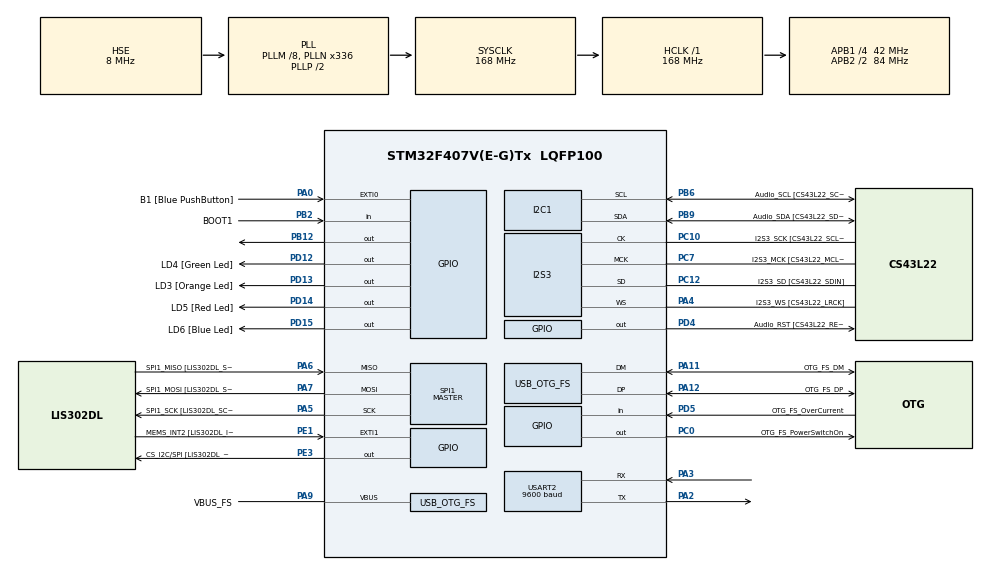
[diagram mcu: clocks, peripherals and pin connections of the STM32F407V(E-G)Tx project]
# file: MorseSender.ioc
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I2S3.AudioFreq-Half_Duplex_Master=I2S_AUDIOFREQ_96K
I2S3.ErrorAudioFreq=-2.34 %
I2S3.ErrorAudioFreq-Half_Duplex_Master=0.8 %
I2S3.FullDuplexMode=I2S_FULLDUPLEXMODE_DISABLE
I2S3.Instance=SPI$Index
I2S3.RealAudioFreq=93.75 KHz
I2S3.RealAudioFreq-Half_Duplex_Master=96.774 KHz
I2S3.VirtualMode=I2S_MODE_MASTER
Mcu.Family=STM32F4
Mcu.Name=STM32F407V(E-G)Tx
Mcu.Package=LQFP100
NVIC.OTG_FS_IRQn=true\:0\:0\:false\:false\:true\:true\:true\:true
NVIC.PriorityGroup=NVIC_PRIORITYGROUP_0
NVIC.USART2_IRQn=true\:0\:0\:false\:false\:true\:true\:true\:true
PA0-WKUP.GPIO_Label=B1 [Blue PushButton]
PA0-WKUP.GPIO_ModeDefaultEXTI=GPIO_MODE_EVT_RISING
PA0-WKUP.GPIO_PuPd=GPIO_NOPULL
PA0-WKUP.Signal=GPXTI0
PA10.GPIO_Label=OTG_FS_ID
PA10.GPIO_Mode=GPIO_MODE_AF_PP
PA10.GPIO_PuPd=GPIO_NOPULL
PA10.GPIO_Speed=GPIO_SPEED_FREQ_LOW
PA10.Signal=USB_OTG_FS_ID
PA11.GPIO_Label=OTG_FS_DM
PA11.GPIO_Mode=GPIO_MODE_AF_PP
PA11.GPIO_PuPd=GPIO_NOPULL
PA11.GPIO_Speed=GPIO_SPEED_FREQ_LOW
PA11.Mode=Host_Only
PA11.Signal=USB_OTG_FS_DM
PA12.GPIO_Label=OTG_FS_DP
PA12.GPIO_Mode=GPIO_MODE_AF_PP
PA12.GPIO_PuPd=GPIO_NOPULL
PA12.GPIO_Speed=GPIO_SPEED_FREQ_LOW
PA12.Mode=Host_Only
PA12.Signal=USB_OTG_FS_DP
PA13.GPIO_Label=SWDIO
PA13.Mode=Serial_Wire
PA13.Signal=SYS_JTMS-SWDIO
PA14.GPIO_Label=SWCLK
PA14.Mode=Serial_Wire
PA14.Signal=SYS_JTCK-SWCLK
PA2.Mode=Asynchronous
PA2.Signal=USART2_TX
PA3.Mode=Asynchronous
PA3.Signal=USART2_RX
PA4.GPIO_Label=I2S3_WS [CS43L22_LRCK]
PA4.GPIO_Mode=GPIO_MODE_AF_PP
PA4.GPIO_PuPd=GPIO_NOPULL
PA4.GPIO_Speed=GPIO_SPEED_FREQ_LOW
PA4.Mode=Half_Duplex_Master
PA4.Signal=I2S3_WS
PA5.GPIO_Label=SPI1_SCK [LIS302DL_SCL/SPC]
PA5.GPIO_Mode=GPIO_MODE_AF_PP
PA5.GPIO_PuPd=GPIO_NOPULL
PA5.GPIO_Speed=GPIO_SPEED_FREQ_LOW
PA5.Mode=Full_Duplex_Master
PA5.Signal=SPI1_SCK
PA6.GPIO_Label=SPI1_MISO [LIS302DL_SDO]
PA6.GPIO_Mode=GPIO_MODE_AF_PP
PA6.GPIO_PuPd=GPIO_NOPULL
PA6.GPIO_Speed=GPIO_SPEED_FREQ_LOW
PA6.Mode=Full_Duplex_Master
PA6.Signal=SPI1_MISO
PA7.GPIO_Label=SPI1_MOSI [LIS302DL_SDA/SDI/SDO]
PA7.GPIO_Mode=GPIO_MODE_AF_PP
PA7.GPIO_PuPd=GPIO_NOPULL
PA7.GPIO_Speed=GPIO_SPEED_FREQ_LOW
PA7.Mode=Full_Duplex_Master
PA7.Signal=SPI1_MOSI
PA9.GPIO_Label=VBUS_FS
PA9.GPIO_Mode=GPIO_MODE_INPUT
PA9.GPIO_PuPd=GPIO_NOPULL
PA9.Mode=Activate_VBUS
PA9.Signal=USB_OTG_FS_VBUS
PB10.GPIO_Label=CLK_IN [MP45DT02_CLK]
PB10.GPIO_Mode=GPIO_MODE_AF_PP
PB10.GPIO_PuPd=GPIO_NOPULL
PB10.GPIO_Speed=GPIO_SPEED_FREQ_LOW
PB10.Signal=I2S2_CK
PB12.Signal=GPIO_Output
PB2.GPIO_Label=BOOT1
PB2.GPIO_Mode=GPIO_MODE_INPUT
PB2.GPIO_PuPd=GPIO_NOPULL
PB2.Signal=GPIO_Input
PB3.GPIO_Label=SWO
PB3.Signal=SYS_JTDO-SWO
PB6.GPIO_Label=Audio_SCL [CS43L22_SCL]
PB6.GPIO_Mode=GPIO_MODE_AF_OD
PB6.GPIO_Pu=GPIO_PULLUP
PB6.GPIO_PuPd=GPIO_NOPULL
PB6.GPIO_Speed=GPIO_SPEED_FREQ_LOW
PB6.Mode=I2C
PB6.Signal=I2C1_SCL
PB9.GPIO_Label=Audio_SDA [CS43L22_SDA]
PB9.GPIO_Mode=GPIO_MODE_AF_OD
PB9.GPIO_Pu=GPIO_PULLUP
PB9.GPIO_PuPd=GPIO_NOPULL
PB9.GPIO_Speed=GPIO_SPEED_FREQ_LOW
PB9.Mode=I2C
PB9.Signal=I2C1_SDA
PC0.GPIO_Label=OTG_FS_PowerSwitchOn
PC0.GPIO_PuPd=GPIO_NOPULL
PC0.GPIO_Speed=GPIO_SPEED_FREQ_LOW
PC0.PinState=GPIO_PIN_SET
PC0.Signal=GPIO_Output
PC10.GPIO_Label=I2S3_SCK [CS43L22_SCLK]
PC10.GPIO_Mode=GPIO_MODE_AF_PP
PC10.GPIO_PuPd=GPIO_NOPULL
PC10.GPIO_Speed=GPIO_SPEED_FREQ_LOW
PC10.Mode=Half_Duplex_Master
PC10.Signal=I2S3_CK
PC12.GPIO_Label=I2S3_SD [CS43L22_SDIN]
PC12.GPIO_Mode=GPIO_MODE_AF_PP
PC12.GPIO_PuPd=GPIO_NOPULL
PC12.GPIO_Speed=GPIO_SPEED_FREQ_LOW
PC12.Mode=Half_Duplex_Master
PC12.Signal=I2S3_SD
PC14-OSC32_IN.GPIO_Label=PC14-OSC32_IN
PC14-OSC32_IN.Mode=LSE-External-Oscillator
PC14-OSC32_IN.Signal=RCC_OSC32_IN
PC15-OSC32_OUT.GPIO_Label=PC15-OSC32_OUT
PC15-OSC32_OUT.Mode=LSE-External-Oscillator
PC15-OSC32_OUT.Signal=RCC_OSC32_OUT
PC3.GPIO_Label=PDM_OUT [MP45DT02_DOUT]
PC3.GPIO_Mode=GPIO_MODE_AF_PP
PC3.GPIO_PuPd=GPIO_NOPULL
PC3.GPIO_Speed=GPIO_SPEED_FREQ_LOW
PC3.Signal=I2S2_SD
PC7.GPIO_Label=I2S3_MCK [CS43L22_MCLK]
PC7.GPIO_Mode=GPIO_MODE_AF_PP
PC7.GPIO_PuPd=GPIO_NOPULL
PC7.GPIO_Speed=GPIO_SPEED_FREQ_LOW
PC7.Mode=Master_Clock_Activated
PC7.Signal=I2S3_MCK
PD12.GPIO_Label=LD4 [Green Led]
PD12.GPIO_PuPd=GPIO_NOPULL
PD12.GPIO_Speed=GPIO_SPEED_FREQ_LOW
PD12.Signal=GPIO_Output
PD13.GPIO_Label=LD3 [Orange Led]
PD13.GPIO_PuPd=GPIO_NOPULL
PD13.GPIO_Speed=GPIO_SPEED_FREQ_LOW
PD13.Signal=GPIO_Output
PD14.GPIO_Label=LD5 [Red Led]
PD14.GPIO_PuPd=GPIO_NOPULL
PD14.GPIO_Speed=GPIO_SPEED_FREQ_LOW
PD14.Signal=GPIO_Output
PD15.GPIO_Label=LD6 [Blue Led]
PD15.GPIO_PuPd=GPIO_NOPULL
PD15.GPIO_Speed=GPIO_SPEED_FREQ_LOW
PD15.Signal=GPIO_Output
PD4.GPIO_Label=Audio_RST [CS43L22_RESET]
PD4.GPIO_PuPd=GPIO_NOPULL
PD4.GPIO_Speed=GPIO_SPEED_FREQ_LOW
PD4.Signal=GPIO_Output
PD5.GPIO_Label=OTG_FS_OverCurrent
PD5.GPIO_Mode=GPIO_MODE_INPUT
PD5.GPIO_PuPd=GPIO_NOPULL
PD5.Signal=GPIO_Input
PE1.GPIO_Label=MEMS_INT2 [LIS302DL_INT2]
PE1.GPIO_ModeDefaultEXTI=GPIO_MODE_EVT_RISING
PE1.GPIO_PuPd=GPIO_NOPULL
PE1.Signal=GPXTI1
PE3.GPIO_Label=CS_I2C/SPI [LIS302DL_CS_I2C/SPI]
PE3.GPIO_PuPd=GPIO_NOPULL
PE3.GPIO_Speed=GPIO_SPEED_FREQ_LOW
PE3.Signal=GPIO_Output
PH0-OSC_IN.GPIO_Label=PH0-OSC_IN
PH0-OSC_IN.Mode=HSE-External-Oscillator
PH0-OSC_IN.Signal=RCC_OSC_IN
PH1-OSC_OUT.GPIO_Label=PH1-OSC_OUT
PH1-OSC_OUT.Mode=HSE-External-Oscillator
PH1-OSC_OUT.Signal=RCC_OSC_OUT
ProjectManager.HeapSize=0x200
ProjectManager.StackSize=0x400
ProjectManager.TargetToolchain=CMake
RCC.48MHZClocksFreq_Value=48000000
RCC.AHBFreq_Value=168000000
RCC.APB1CLKDivider=RCC_HCLK_DIV4
RCC.APB1Freq_Value=42000000
RCC.APB1TimFreq_Value=84000000
RCC.APB2CLKDivider=RCC_HCLK_DIV2
RCC.APB2Freq_Value=84000000
RCC.APB2TimFreq_Value=168000000
RCC.CortexFreq_Value=168000000
RCC.HCLKFreq_Value=168000000
RCC.HSE_VALUE=8000000
RCC.HSI_VALUE=16000000
RCC.PLLM=8
RCC.PLLN=336
RCC.PLLQ=7
RCC.SYSCLKFreq_VALUE=168000000
RCC.SYSCLKSource=RCC_SYSCLKSOURCE_PLLCLK
RCC.VCOOutputFreq_Value=336000000
SPI1.BaudRatePrescaler-Full_Duplex_Master=SPI_BAUDRATEPRESCALER_2
SPI1.CalculateBaudRate-Full_Duplex_Master=42.0 MBits/s
SPI1.Direction=SPI_DIRECTION_2LINES
SPI1.Mode=SPI_MODE_MASTER
SPI1.Mode-Full_Duplex_Master=SPI_MODE_MASTER
SPI1.VirtualType=VM_MASTER
USART2.BaudRate=9600
USART2.VirtualMode=VM_ASYNC
USB_HOST.BSP.number=1
USB_HOST.USBH_HandleTypeDef-CDC_FS=hUsbHostFS
USB_HOST.VirtualModeFS=Cdc
USB_HOST0.BSP.STBoard=false
USB_HOST0.BSP.api=Unknown
USB_HOST0.BSP.instance=PC0
USB_HOST0.BSP.ip=GPIO
USB_HOST0.BSP.mode=Output
USB_HOST0.BSP.name=Drive_VBUS_FS
USB_HOST0.BSP.solution=PC0
USB_OTG_FS.VirtualMode=Host_Only
USB_OTG_FS.phy_itface=HCD_PHY_EMBEDDED
VP_USB_HOST_VS_USB_HOST_CDC_FS.Mode=CDC_FS
board=STM32F407G-DISC1

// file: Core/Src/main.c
/* USER CODE BEGIN Header */
/**
  ******************************************************************************
  * @file           : main.c
  * @brief          : Main program body
  ******************************************************************************
  * @attention
  *
  * Copyright (c) 2025 STMicroelectronics.
  * All rights reserved.
  *
  * This software is licensed under terms that can be found in the LICENSE file
  * in the root directory of this software component.
  * If no LICENSE file comes with this software, it is provided AS-IS.
  *
  ******************************************************************************
  */
/* USER CODE END Header */
#include "main.h"
#include "i2c.h"
#include "i2s.h"
#include "spi.h"
#include "usart.h"
#include "usb_host.h"
#include "gpio.h"

/* USER CODE BEGIN Includes */
#include <string.h>
#include <stdlib.h>
/* USER CODE END Includes */

/* USER CODE BEGIN PD */
#define MAX_MESSAGE_LENGTH 100
/* USER CODE END PD */

/* USER CODE BEGIN PV */
volatile char received_message[MAX_MESSAGE_LENGTH];
volatile uint16_t message_index = 0;
volatile uint8_t message_received = 0;

const char* morse_codes[36] = {
    "-----", ".----", "..---", "...--", "....-", ".....", "-....", "--...", "---..", "----.", // 0-9
    ".-", "-...", "-.-.", "-..", ".", "..-.", "--.", "....", "..", ".---", // A-J
    "-.-", ".-..", "--", "-.", "---", ".--.", "--.-", ".-.", "...", "-", // K-T
    "..-", "...-", ".--", "-..-", "-.--", "--.."// U-Z
};
/* USER CODE END PV */

void SystemClock_Config(void);
void MX_USB_HOST_Process(void);

/* USER CODE BEGIN PFP */
void send_morse_char(char c);
void send_morse_string(const char* str);
void morse_dot(void);
void morse_dash(void);
/* USER CODE END PFP */

int main(void)
{

  /* MCU Configuration--------------------------------------------------------*/

  /* Reset of all peripherals, Initializes the Flash interface and the Systick. */
  HAL_Init();

  /* Configure the system clock */
  SystemClock_Config();

  /* Initialize all configured peripherals */
  MX_GPIO_Init();
  MX_I2C1_Init();
  MX_I2S3_Init();
  MX_SPI1_Init();
  MX_USART2_UART_Init();
  MX_USB_HOST_Init();

  /* USER CODE BEGIN 2 */
  HAL_UART_Receive_IT(&huart2, (uint8_t*)&received_message[0], 1);
  /* USER CODE END 2 */

  /* Infinite loop */
  /* USER CODE BEGIN WHILE */
  while (1)
  {
    if (message_received) {
      __disable_irq();

      char local_message[MAX_MESSAGE_LENGTH];
      strcpy(local_message, (char*)received_message);

      message_index = 0;
      message_received = 0;

      __enable_irq();

      send_morse_string(local_message);
      morse_dot();
      HAL_Delay(100);
      morse_dash();
      HAL_Delay(100);
      morse_dot();
      HAL_Delay(100);
      morse_dash();
      HAL_Delay(100);
      morse_dot();
      HAL_Delay(100);
      morse_dash();
      HAL_Delay(100);

      HAL_UART_Receive_IT(&huart2, (uint8_t*)&received_message[0], 1);
    }

    /* USER CODE END WHILE */
    MX_USB_HOST_Process();
  }
}

void SystemClock_Config(void)
{
  RCC_OscInitTypeDef RCC_OscInitStruct = {0};
  RCC_ClkInitTypeDef RCC_ClkInitStruct = {0};

  /** Configure the main internal regulator output voltage
  */
  __HAL_RCC_PWR_CLK_ENABLE();
  __HAL_PWR_VOLTAGESCALING_CONFIG(PWR_REGULATOR_VOLTAGE_SCALE1);

  /** Initializes the RCC Oscillators according to the specified parameters
  * in the RCC_OscInitTypeDef structure.
  */
  RCC_OscInitStruct.OscillatorType = RCC_OSCILLATORTYPE_HSE;
  RCC_OscInitStruct.HSEState = RCC_HSE_ON;
  RCC_OscInitStruct.PLL.PLLState = RCC_PLL_ON;
  RCC_OscInitStruct.PLL.PLLSource = RCC_PLLSOURCE_HSE;
  RCC_OscInitStruct.PLL.PLLM = 8;
  RCC_OscInitStruct.PLL.PLLN = 336;
  RCC_OscInitStruct.PLL.PLLP = RCC_PLLP_DIV2;
  RCC_OscInitStruct.PLL.PLLQ = 7;
  if (HAL_RCC_OscConfig(&RCC_OscInitStruct) != HAL_OK)
  {
    Error_Handler();
  }

  /** Initializes the CPU, AHB and APB buses clocks
  */
  RCC_ClkInitStruct.ClockType = RCC_CLOCKTYPE_HCLK|RCC_CLOCKTYPE_SYSCLK
                              |RCC_CLOCKTYPE_PCLK1|RCC_CLOCKTYPE_PCLK2;
  RCC_ClkInitStruct.SYSCLKSource = RCC_SYSCLKSOURCE_PLLCLK;
  RCC_ClkInitStruct.AHBCLKDivider = RCC_SYSCLK_DIV1;
  RCC_ClkInitStruct.APB1CLKDivider = RCC_HCLK_DIV4;
  RCC_ClkInitStruct.APB2CLKDivider = RCC_HCLK_DIV2;

  if (HAL_RCC_ClockConfig(&RCC_ClkInitStruct, FLASH_LATENCY_5) != HAL_OK)
  {
    Error_Handler();
  }
}

/* USER CODE BEGIN 4 */
void HAL_UART_RxCpltCallback(UART_HandleTypeDef *huart) {
  if (huart->Instance == USART2) {
    if (received_message[message_index] == '.') {
      received_message[message_index] = '\0';
      message_received = 1;
      return;
    }

    char c = received_message[message_index];
    if ((c >= '0' && c <= '9') || (c >= 'A' && c <= 'Z')) {
      message_index++;

      if (message_index >= MAX_MESSAGE_LENGTH - 1) {
        received_message[MAX_MESSAGE_LENGTH - 1] = '\0';
        message_index = 0;
        message_received = 1;
        return;
      }
    }

    HAL_UART_Receive_IT(&huart2, (uint8_t*)&received_message[message_index], 1);
  }
}

void send_morse_string(const char* str) {
  for (int i = 0; str[i] != '\0'; i++) {
    send_morse_char(str[i]);
    HAL_Delay(300);
  }
}

void send_morse_char(char c) {
  int index = -1;

  if (c >= '0' && c <= '9') {
    index = c - '0';
  } else if (c >= 'A' && c <= 'Z') {
    index = c - 'A' + 10;
  } else {
    return;
  }

  const char* morse_code = morse_codes[index];

  for (int i = 0; morse_code[i] != '\0'; i++) {
    if (morse_code[i] == '.') {
      morse_dot();
    } else if (morse_code[i] == '-') {
      morse_dash();
    }

    HAL_Delay(100);
  }
}

void morse_dot(void) {
  HAL_GPIO_WritePin(GPIOD, GPIO_PIN_12, GPIO_PIN_SET);
  HAL_Delay(100); // Длительность точки
  HAL_GPIO_WritePin(GPIOD, GPIO_PIN_12, GPIO_PIN_RESET);
}

void morse_dash(void) {
  HAL_GPIO_WritePin(GPIOD, GPIO_PIN_12, GPIO_PIN_SET);
  HAL_Delay(300); // Длительность тире (3 точки)
  HAL_GPIO_WritePin(GPIOD, GPIO_PIN_12, GPIO_PIN_RESET);
}
/* USER CODE END 4 */

void Error_Handler(void)
{
  __disable_irq();
  while (1)
  {
  }
}
